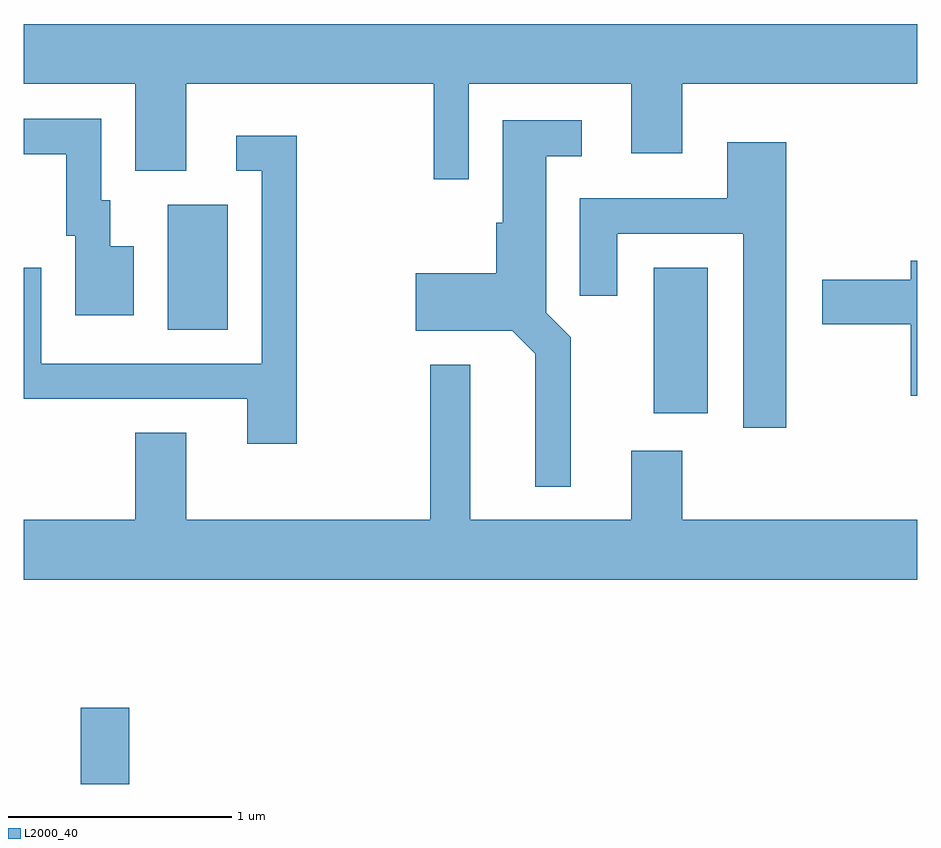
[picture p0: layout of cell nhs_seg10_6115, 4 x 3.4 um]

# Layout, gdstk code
import gdstk
lib = gdstk.Library(unit=1e-6, precision=1e-09)
def R(c, l, rs):  # rectangles x0, y0, x1, y1
    for r in rs: c.add(gdstk.rectangle(r[:2], r[2:], *l))
def P(c, l, *ps):  # polygons
    for p in ps: c.add(gdstk.Polygon(p, *l))
L2000_40 = (2000, 40)

nhs_seg10_6115 = lib.new_cell('nhs_seg10_6115')
R(nhs_seg10_6115, L2000_40, [(365.866,2148.522,366.084,2148.864), (368.431,2150.181,368.674,2150.834), (366.256,2150.556,366.524,2151.114)])
P(nhs_seg10_6115, L2000_40, [(367.604,2151.656),(368.331,2151.656),(368.331,2151.346),(368.559,2151.346),(368.559,2151.656),(369.611,2151.656),(369.611,2151.924),(365.611,2151.924),(365.611,2151.656),(366.111,2151.656),(366.111,2151.266),(366.339,2151.266),(366.339,2151.656),(367.446,2151.656),(367.446,2151.228),(367.604,2151.228)],
  [(366.104,2150.929),(365.999,2150.929),(365.999,2151.134),(365.959,2151.134),(365.959,2151.499),(365.611,2151.499),(365.611,2151.341),(365.801,2151.341),(365.801,2150.976),(365.841,2150.976),(365.841,2150.621),(366.104,2150.621)],
  [(368.059,2150.522),(367.949,2150.632),(367.949,2151.331),(368.108,2151.331),(368.108,2151.494),(367.756,2151.494),(367.756,2151.034),(367.726,2151.034),(367.726,2150.809),(367.366,2150.809),(367.366,2150.551),(367.799,2150.551),(367.901,2150.449),(367.901,2149.853),(368.059,2149.853)],
  [(366.834,2151.424),(366.563,2151.424),(366.563,2151.266),(366.676,2151.266),(366.676,2150.404),(365.689,2150.404),(365.689,2150.833),(365.611,2150.833),(365.611,2150.246),(366.611,2150.246),(366.611,2150.046),(366.834,2150.046)],
  [(369.024,2151.394),(368.761,2151.394),(368.761,2151.144),(368.101,2151.144),(368.101,2150.708),(368.269,2150.708),(368.269,2150.986),(368.831,2150.986),(368.831,2150.116),(369.024,2150.116)],
  [(369.611,2150.864),(369.581,2150.864),(369.581,2150.779),(369.186,2150.779),(369.186,2150.581),(369.581,2150.581),(369.581,2150.261),(369.611,2150.261)],
  [(369.611,2149.704),(368.559,2149.704),(368.559,2150.014),(368.331,2150.014),(368.331,2149.704),(367.609,2149.704),(367.609,2150.399),(367.431,2150.399),(367.431,2149.704),(366.339,2149.704),(366.339,2150.094),(366.111,2150.094),(366.111,2149.704),(365.611,2149.704),(365.611,2149.436),(369.611,2149.436)])

lib.write_gds('nhs_seg10_6115.gds')
